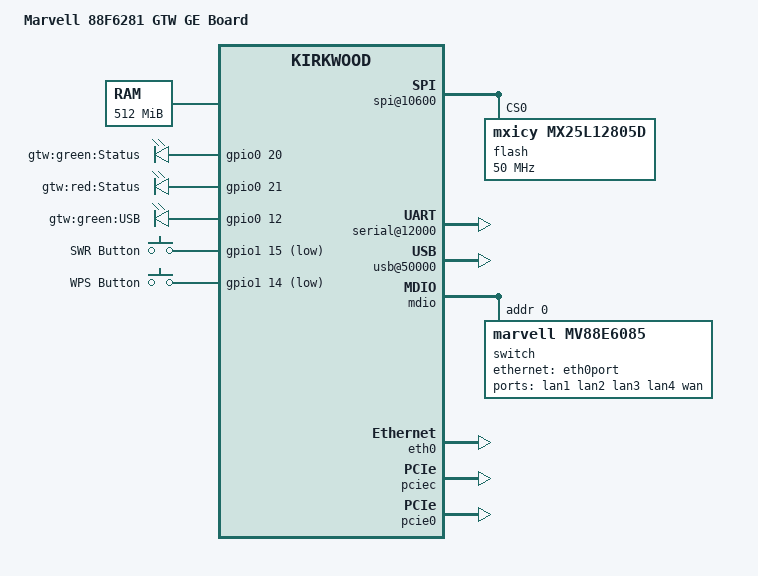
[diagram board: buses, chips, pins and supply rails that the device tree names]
// SPDX-License-Identifier: GPL-2.0
/*
 * Marvell 88F6281 GTW GE Board
 *
 * Lennert Buytenhek <buytenh@marvell.com>
 * Thomas Petazzoni <thomas.petazzoni@free-electrons.com>
 *
 * This file contains the definitions that are common between the 6281
 * and 6282 variants of the Marvell Kirkwood Development Board.
 */

/dts-v1/;

#include "kirkwood.dtsi"
#include "kirkwood-6281.dtsi"

/ {
	model = "Marvell 88F6281 GTW GE Board";
	compatible = "marvell,mv88f6281gtw-ge", "marvell,kirkwood-88f6281", "marvell,kirkwood";

	memory {
		device_type = "memory";
		reg = <0x00000000 0x20000000>; /* 512 MB */
	};

	chosen {
		bootargs = "console=ttyS0,115200n8 earlyprintk";
		stdout-path = &uart0;
	};

	ocp@f1000000 {
		pin-controller@10000 {
			pmx_usb_led: pmx-usb-led {
				marvell,pins = "mpp12";
				marvell,function = "gpo";
			};

			pmx_leds: pmx-leds {
				marvell,pins = "mpp20", "mpp21";
				marvell,function = "gpio";
			};

			pmx_keys: pmx-keys {
				marvell,pins = "mpp46", "mpp47";
				marvell,function = "gpio";
			};
		};

		spi@10600 {
			status = "okay";

			flash@0 {
				#address-cells = <1>;
				#size-cells = <1>;
				compatible = "mxicy,mx25l12805d", "jedec,spi-nor";
				reg = <0>;
				spi-max-frequency = <50000000>;
				mode = <0>;
			};
		};

		serial@12000 {
			status = "okay";
		};

		usb@50000 {
			status = "okay";
		};
	};

	gpio-leds {
		compatible = "gpio-leds";
		pinctrl-0 = <&pmx_leds &pmx_usb_led>;
		pinctrl-names = "default";

		led-green-status {
			label = "gtw:green:Status";
			gpios = <&gpio0 20 GPIO_ACTIVE_HIGH>;
		};

		led-red-status {
			label = "gtw:red:Status";
			gpios = <&gpio0 21 GPIO_ACTIVE_HIGH>;
		};

		led-green-usb {
			label = "gtw:green:USB";
			gpios = <&gpio0 12 GPIO_ACTIVE_HIGH>;
		};
	};

	gpio_keys {
		compatible = "gpio-keys";
		pinctrl-0 = <&pmx_keys>;
		pinctrl-names = "default";

		button-restart {
			label = "SWR Button";
			linux,code = <KEY_RESTART>;
			gpios = <&gpio1 15 GPIO_ACTIVE_LOW>;
		};
		button-wps {
			label = "WPS Button";
			linux,code = <KEY_WPS_BUTTON>;
			gpios = <&gpio1 14 GPIO_ACTIVE_LOW>;
		};
	};
};

&mdio {
	status = "okay";

	switch@0 {
		compatible = "marvell,mv88e6085";
		#address-cells = <1>;
		#size-cells = <0>;
		reg = <0>;

		ports {
			#address-cells = <1>;
			#size-cells = <0>;

			port@0 {
				reg = <0>;
				label = "lan1";
			};

			port@1 {
				reg = <1>;
				label = "lan2";
			};

			port@2 {
				reg = <2>;
				label = "lan3";
			};

			port@3 {
				reg = <3>;
				label = "lan4";
			};

			port@4 {
				reg = <4>;
				label = "wan";
			};

			port@5 {
				reg = <5>;
				phy-mode = "rgmii-id";
				ethernet = <&eth0port>;
				fixed-link {
					speed = <1000>;
					full-duplex;
				};
			};
		};
	};
};

&eth0 {
	status = "okay";

	ethernet0-port@0 {
		speed = <1000>;
		duplex = <1>;
		phy-mode = "rgmii";
	};
};

&pciec {
	status = "okay";
};

&pcie0 {
	status = "okay";
};
